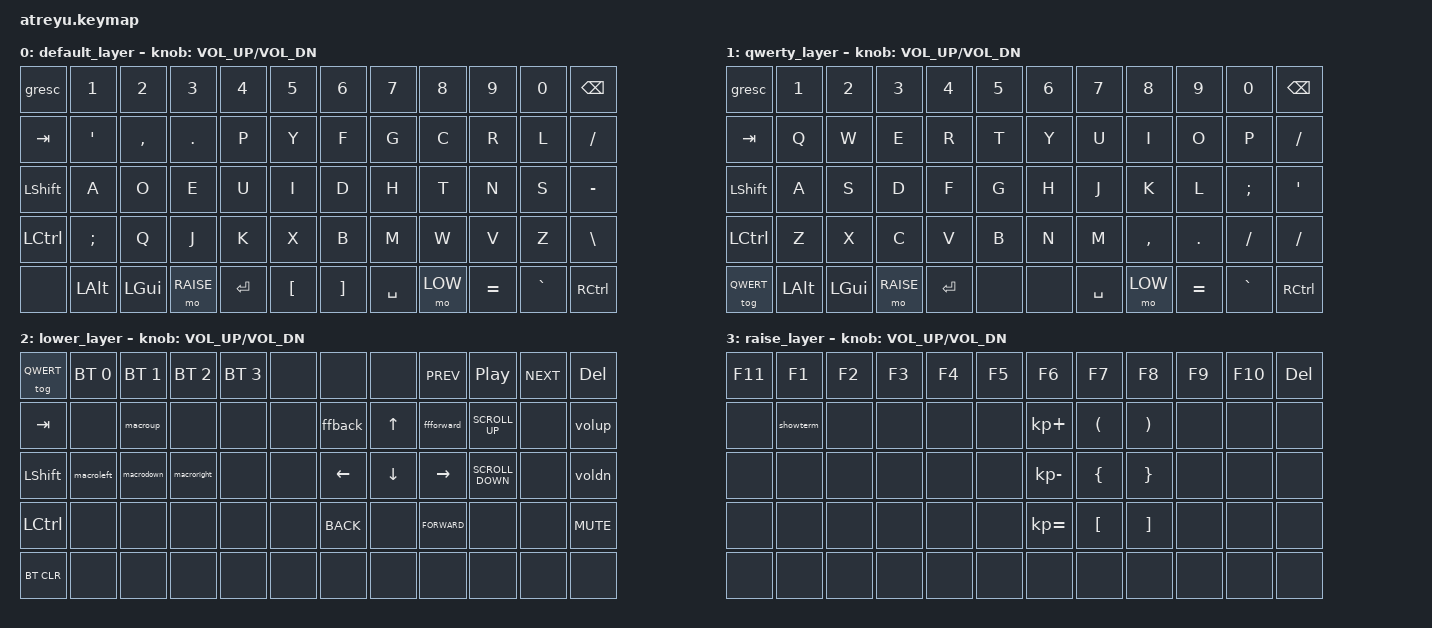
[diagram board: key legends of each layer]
/*
 * Copyright (c) 2020 The ZMK Contributors
 *
 * SPDX-License-Identifier: MIT
 */

#include <behaviors.dtsi>
#include <dt-bindings/zmk/keys.h>
#include <dt-bindings/zmk/bt.h>

#define DEFAULT 0
#define QWERT   1
#define LOW     2
#define RAISE   3


/ {
   behaviors {
      ctrl_tab: ctrl_tab {
      compatible = "zmk,behavior-mod-morph";
      label = "GUI_CTRL_TAB";
      #binding-cells = <0>;
      bindings = <&kp LC(TAB)>, <&kp LC(LS(TAB))>;
      mods = <(MOD_LGUI)>;
       };

      shiftable_tab: shiftable_tab {
      compatible = "zmk,behavior-mod-morph";
      label = "CTRL_TAB";
      #binding-cells = <0>;
      bindings = <&kp TAB >, <&ctrl_tab>;
      mods = <(MOD_LCTL)>;
       };

      gresc: grave_escape {
          compatible = "zmk,behavior-mod-morph";
          label = "GRAVE_ESCAPE";
          #binding-cells = <0>;
          bindings = <&kp ESC>, <&kp GRAVE>;
          mods = <(MOD_LGUI)>;
        keep-mods = <(MOD_LGUI)>;
      };
   };

   macros {
        ffback: ffback {
            compatible = "zmk,behavior-macro";
            label = "ffback";
            #binding-cells = <0>;
            bindings =
               <&macro_press &kp LCTRL>,
               <&macro_tap &kp LEFT_BRACKET>,
               <&macro_release &kp LCTRL>
            ;
        };
        ffforward: ffforward {
            compatible = "zmk,behavior-macro";
            label = "ffforward";
            #binding-cells = <0>;
            bindings =
               <&macro_press &kp LCTRL>,
               <&macro_tap &kp RIGHT_BRACKET>,
               <&macro_release &kp LCTRL>
            ;
        };
        showterm: showterm {
            compatible = "zmk,behavior-macro";
            label = "showterm";
            #binding-cells = <0>;
            bindings =
               <&macro_press &kp LCTRL>,
               <&macro_press &kp LSHFT>,
               <&macro_tap &kp GRAVE>,
               <&macro_release &kp LCTRL>,
               <&macro_release &kp LSHFT>
            ;
        };
        volup: volup {
            compatible = "zmk,behavior-macro";
            label = "Volume Up";
            #binding-cells = <0>;
            bindings =
               <&macro_tap &kp C_VOL_UP>,
               <&macro_tap &kp K_VOL_UP>
            ;
        };
        voldn: voldn {
            compatible = "zmk,behavior-macro";
            label = "Volume Down";
            #binding-cells = <0>;
            bindings =
               <&macro_tap &kp C_VOL_DN>,
               <&macro_tap &kp K_VOL_DN>
            ;
        };
        // control shift direction macros for workspace navigation
        macroup: macroup {
            compatible = "zmk,behavior-macro";
            label = "macroup";
            #binding-cells = <0>;
            bindings =
               <&macro_press &kp LCTRL>,
               <&macro_press &kp LSHFT>,
               <&macro_tap &kp UP>,
               <&macro_release &kp LCTRL>,
               <&macro_release &kp LSHFT>
            ;
        };
        macrodown: macrodown {
            compatible = "zmk,behavior-macro";
            label = "macrodown";
            #binding-cells = <0>;
            bindings =
               <&macro_press &kp LCTRL>,
               <&macro_press &kp LSHFT>,
               <&macro_tap &kp DOWN>,
               <&macro_release &kp LCTRL>,
               <&macro_release &kp LSHFT>
            ;
        };
        macroleft: macroleft {
            compatible = "zmk,behavior-macro";
            label = "macroleft";
            #binding-cells = <0>;
            bindings =
               <&macro_press &kp LCTRL>,
               <&macro_press &kp LSHFT>,
               <&macro_tap &kp LEFT>,
               <&macro_release &kp LCTRL>,
               <&macro_release &kp LSHFT>
            ;
        };
        macroright: macroright {
            compatible = "zmk,behavior-macro";
            label = "macroright";
            #binding-cells = <0>;
            bindings =
               <&macro_press &kp LCTRL>,
               <&macro_press &kp LSHFT>,
               <&macro_tap &kp RIGHT>,
               <&macro_release &kp LCTRL>,
               <&macro_release &kp LSHFT>
            ;
        };
    };

        keymap {
                compatible = "zmk,keymap";

                default_layer {
                        bindings = <
   &gresc    &kp N1   &kp N2   &kp N3   &kp N4  &kp N5    &kp N6 &kp N7    &kp N8    &kp N9  &kp N0   &kp BSPC
   &kp TAB   &kp SQT  &kp COMMA &kp DOT  &kp P   &kp Y     &kp F  &kp G   &kp C     &kp R   &kp L    &kp SLASH
   &kp LSHFT &kp A    &kp O    &kp E    &kp U   &kp I     &kp D  &kp H     &kp T     &kp N   &kp S    &kp MINUS
   &kp LCTRL &kp SEMI &kp Q   &kp J    &kp K   &kp X     &kp B  &kp M     &kp W     &kp V   &kp Z    &kp BSLH
   &none   &kp LALT   &kp LGUI  &mo RAISE   &kp RET &kp LEFT_BRACKET &kp RIGHT_BRACKET  &kp SPACE &mo LOW  &kp EQUAL  &kp GRAVE   &kp RCTRL
                        >;
         sensor-bindings = <&inc_dec_kp C_VOL_UP C_VOL_DN>;
                };

               // mo 1, qwerty 
                qwerty_layer {
                        bindings = <
   &gresc    &kp N1   &kp N2   &kp N3   &kp N4  &kp N5    &kp N6 &kp N7    &kp N8    &kp N9  &kp N0   &kp BSPC
   &kp TAB   &kp Q   &kp W    &kp E    &kp R   &kp T        &kp Y        &kp U     &kp I     &kp O   &kp P    &kp SLASH
   &kp LSHFT &kp A   &kp S    &kp D    &kp F   &kp G        &kp H        &kp J     &kp K     &kp L   &kp SEMI    &kp SQT
   &kp LCTRL &kp Z   &kp X    &kp C    &kp V   &kp B        &kp N        &kp M     &kp COMMA &kp DOT &kp FSLH &kp FSLH
   &tog QWERT  &kp LALT   &kp LGUI  &mo RAISE   &kp RET &none &none  &kp SPACE &mo LOW     &kp EQUAL  &kp GRAVE   &kp RCTRL
                        >;
                        sensor-bindings = <&inc_dec_kp C_VOL_UP C_VOL_DN>;
                };

                // mo 2, lower - Navigation Layer
                lower_layer {
                        bindings = <
   &tog QWERT &bt BT_SEL 0 &bt BT_SEL 1 &bt BT_SEL 2 &bt BT_SEL 3 &none     &none    &none    &kp C_PREV &kp C_PLAY_PAUSE  &kp C_NEXT    &kp DEL
   &kp TAB    &none    &macroup    &none    &none    &none             &ffback     &kp UP    &ffforward    &kp K_SCROLL_UP    &none    &volup
   &kp LSHFT &macroleft &macrodown &macroright &none &none             &kp LEFT  &kp DOWN  &kp RIGHT    &kp K_SCROLL_DOWN    &none    &voldn
   &kp LCTRL    &none    &none    &none    &none    &none             &kp K_BACK    &none     &kp K_FORWARD    &none    &none    &kp K_MUTE
   &bt BT_CLR    &none    &none    &none    &none    &none             &none    &none     &none    &none    &none    &none
                        >;
                        sensor-bindings = <&inc_dec_kp C_VOL_UP C_VOL_DN>;
                };

                // mo 3, rise - Symbols layer
                raise_layer {
                        bindings = <
   &kp F11    &kp F1    &kp F2    &kp F3    &kp F4    &kp F5             &kp F6        &kp F7            &kp F8       &kp F9    &kp F10    &kp DEL
   &none    &showterm    &none    &none    &none    &none             &kp KP_PLUS  &kp LPAR         &kp RPAR    &none    &none    &none
   &none    &none    &none    &none    &none    &none             &kp KP_MINUS &kp LEFT_BRACE   &kp RIGHT_BRACE    &none    &none    &none
   &none    &none    &none    &none    &none    &none             &kp KP_EQUAL    &kp LEFT_BRACKET &kp RIGHT_BRACKET    &none    &none    &none
   &none    &none    &none    &none    &none    &none             &none        &none            &none       &none    &none    &none
                        >;
                        sensor-bindings = <&inc_dec_kp C_VOL_UP C_VOL_DN>;
                };

        };
};
